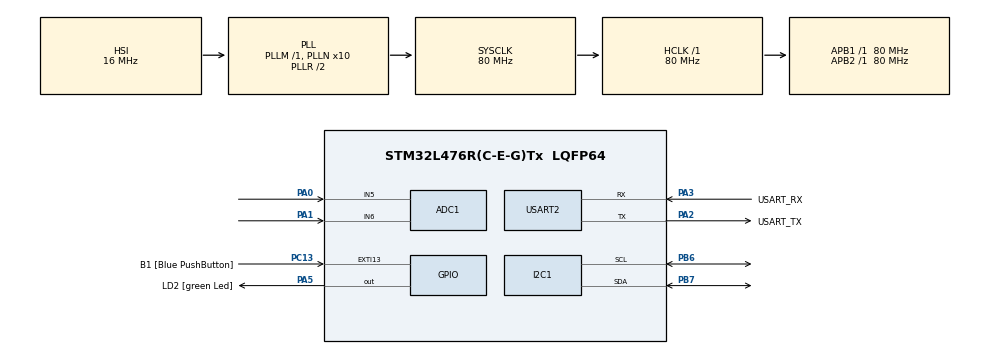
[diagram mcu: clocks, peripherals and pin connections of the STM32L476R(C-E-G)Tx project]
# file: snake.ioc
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ADC1.Channel-0\#ChannelRegularConversion=ADC_CHANNEL_5
ADC1.ContinuousConvMode=ENABLE
ADC1.DMAContinuousRequests=ENABLE
ADC1.NbrOfConversionFlag=1
ADC1.OffsetNumber-0\#ChannelRegularConversion=ADC_OFFSET_NONE
ADC1.Rank-0\#ChannelRegularConversion=1
ADC1.SamplingTime-0\#ChannelRegularConversion=ADC_SAMPLETIME_2CYCLES_5
ADC1.master=1
Dma.ADC1.1.Direction=DMA_PERIPH_TO_MEMORY
Dma.ADC1.1.Instance=DMA1_Channel1
Dma.ADC1.1.MemDataAlignment=DMA_MDATAALIGN_HALFWORD
Dma.ADC1.1.MemInc=DMA_MINC_ENABLE
Dma.ADC1.1.Mode=DMA_CIRCULAR
Dma.ADC1.1.PeriphDataAlignment=DMA_PDATAALIGN_HALFWORD
Dma.ADC1.1.PeriphInc=DMA_PINC_DISABLE
Dma.ADC1.1.Priority=DMA_PRIORITY_LOW
Dma.I2C1_TX.0.Direction=DMA_MEMORY_TO_PERIPH
Dma.I2C1_TX.0.Instance=DMA1_Channel6
Dma.I2C1_TX.0.MemDataAlignment=DMA_MDATAALIGN_BYTE
Dma.I2C1_TX.0.MemInc=DMA_MINC_ENABLE
Dma.I2C1_TX.0.Mode=DMA_NORMAL
Dma.I2C1_TX.0.PeriphDataAlignment=DMA_PDATAALIGN_BYTE
Dma.I2C1_TX.0.PeriphInc=DMA_PINC_DISABLE
Dma.I2C1_TX.0.Priority=DMA_PRIORITY_MEDIUM
Dma.Request0=I2C1_TX
Dma.Request1=ADC1
I2C1.Timing=0x10909CEC
Mcu.Family=STM32L4
Mcu.Name=STM32L476R(C-E-G)Tx
Mcu.Package=LQFP64
NVIC.DMA1_Channel1_IRQn=true\:0\:0\:false\:false\:true\:false\:true\:true
NVIC.DMA1_Channel6_IRQn=true\:0\:0\:false\:false\:true\:false\:true\:true
NVIC.EXTI15_10_IRQn=true\:0\:0\:false\:false\:true\:true\:true\:true
NVIC.I2C1_EV_IRQn=true\:0\:0\:false\:false\:true\:true\:true\:true
NVIC.PriorityGroup=NVIC_PRIORITYGROUP_4
PA0.Signal=ADCx_IN5
PA1.Signal=ADCx_IN6
PA13\ (JTMS-SWDIO).GPIO_Label=TMS
PA13\ (JTMS-SWDIO).Mode=Serial_Wire
PA13\ (JTMS-SWDIO).Signal=SYS_JTMS-SWDIO
PA14\ (JTCK-SWCLK).GPIO_Label=TCK
PA14\ (JTCK-SWCLK).Mode=Serial_Wire
PA14\ (JTCK-SWCLK).Signal=SYS_JTCK-SWCLK
PA2.GPIO_Label=USART_TX
PA2.GPIO_Mode=GPIO_MODE_AF_PP
PA2.GPIO_PuPd=GPIO_NOPULL
PA2.GPIO_Speed=GPIO_SPEED_FREQ_VERY_HIGH
PA2.Mode=Asynchronous
PA2.Signal=USART2_TX
PA3.GPIO_Label=USART_RX
PA3.GPIO_Mode=GPIO_MODE_AF_PP
PA3.GPIO_PuPd=GPIO_NOPULL
PA3.GPIO_Speed=GPIO_SPEED_FREQ_VERY_HIGH
PA3.Mode=Asynchronous
PA3.Signal=USART2_RX
PA5.GPIO_Label=LD2 [green Led]
PA5.GPIO_ModeDefaultOutputPP=GPIO_MODE_OUTPUT_PP
PA5.GPIO_PuPd=GPIO_NOPULL
PA5.GPIO_Speed=GPIO_SPEED_FREQ_LOW
PA5.Signal=GPIO_Output
PB3\ (JTDO-TRACESWO).GPIO_Label=SWO
PB3\ (JTDO-TRACESWO).Signal=SYS_JTDO-SWO
PB6.Mode=I2C
PB6.Signal=I2C1_SCL
PB7.Mode=I2C
PB7.Signal=I2C1_SDA
PC13.GPIO_Label=B1 [Blue PushButton]
PC13.GPIO_ModeDefaultEXTI=GPIO_MODE_IT_FALLING
PC13.GPIO_PuPd=GPIO_NOPULL
PC13.Signal=GPXTI13
PC14-OSC32_IN\ (PC14).Mode=LSE-External-Oscillator
PC14-OSC32_IN\ (PC14).Signal=RCC_OSC32_IN
PC15-OSC32_OUT\ (PC15).Mode=LSE-External-Oscillator
PC15-OSC32_OUT\ (PC15).Signal=RCC_OSC32_OUT
PH0-OSC_IN\ (PH0).Signal=RCC_OSC_IN
PH1-OSC_OUT\ (PH1).Signal=RCC_OSC_OUT
ProjectManager.HeapSize=0x200
ProjectManager.StackSize=0x400
ProjectManager.TargetToolchain=STM32CubeIDE
RCC.ADCFreq_Value=64000000
RCC.AHBFreq_Value=80000000
RCC.APB1Freq_Value=80000000
RCC.APB1TimFreq_Value=80000000
RCC.APB2Freq_Value=80000000
RCC.APB2TimFreq_Value=80000000
RCC.CortexFreq_Value=80000000
RCC.HCLKFreq_Value=80000000
RCC.HSE_VALUE=8000000
RCC.HSI_VALUE=16000000
RCC.MSI_VALUE=4000000
RCC.PLLN=10
RCC.PLLSourceVirtual=RCC_PLLSOURCE_HSI
RCC.PREFETCH_ENABLE=1
RCC.SYSCLKFreq_VALUE=80000000
RCC.SYSCLKSource=RCC_SYSCLKSOURCE_PLLCLK
RCC.USBFreq_Value=64000000
RCC.VCOOutputFreq_Value=160000000
SH.ADCx_IN5.0=ADC1_IN5,IN5-Single-Ended
SH.ADCx_IN6.0=ADC1_IN6,IN6-Single-Ended
USART2.VirtualMode-Asynchronous=VM_ASYNC
VP_RNG_VS_RNG.Mode=RNG_Activate
board=NUCLEO-L476RG

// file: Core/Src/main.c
/* USER CODE BEGIN Header */
/**
  ******************************************************************************
  * @file           : main.c
  * @brief          : Main program body
  ******************************************************************************
  * @attention
  *
  * Copyright (c) 2022 STMicroelectronics.
  * All rights reserved.
  *
  * This software is licensed under terms that can be found in the LICENSE file
  * in the root directory of this software component.
  * If no LICENSE file comes with this software, it is provided AS-IS.
  *
  ******************************************************************************
  */
/* USER CODE END Header */
#include "main.h"
#include "adc.h"
#include "dma.h"
#include "i2c.h"
#include "rng.h"
#include "usart.h"
#include "gpio.h"

/* USER CODE BEGIN Includes */
#include "GFX.h"
#include <stdio.h>
#include <string.h>
/* USER CODE END Includes */

/* USER CODE BEGIN PTD */
typedef struct wall {
	int16_t zero, x, y, h;
}wall;

/* USER CODE END PTD */

/* USER CODE BEGIN PD */
#define BIRD_SIZE 10
#define PLATFORM_SIZE_X 128
#define PLATFORM_SIZE_Y 64
#define STARTING_POINT_X 64
#define STARTING_POINT_Y 32

#define WALL_SIZE 10
#define GAP_SIZE 25
/* USER CODE END PD */

/* USER CODE BEGIN PV */
	uint8_t dir1=0;
	uint8_t dir2=0;
	uint16_t adcdata[2];
	uint8_t act_size=1;
	int16_t bird_x=STARTING_POINT_X;
	int16_t bird_y=STARTING_POINT_Y;
	int16_t size=30;
	int16_t wal_x=0;
	int16_t wal_y=0;
	int16_t wal_h=15;

	wall object;
	wall object1;
	wall object2;

/* USER CODE END PV */

void SystemClock_Config(void);
void PeriphCommonClock_Config(void);

int main(void)
{
  /* USER CODE BEGIN 1 */
	object.x=45;
	object.y=0;
	object.h=20;
	object1.x=0;
	object1.y=0;
	object1.h=5;
	object2.x=90;
	object2.y=0;
	object2.h=32;
  /* USER CODE END 1 */

  /* MCU Configuration--------------------------------------------------------*/

  /* Reset of all peripherals, Initializes the Flash interface and the Systick. */
  HAL_Init();

  /* Configure the system clock */
  SystemClock_Config();

/* Configure the peripherals common clocks */
  PeriphCommonClock_Config();

  /* Initialize all configured peripherals */
  MX_GPIO_Init();
  MX_DMA_Init();
  MX_USART2_UART_Init();
  MX_I2C1_Init();
  MX_ADC1_Init();
  MX_RNG_Init();
  /* USER CODE BEGIN 2 */
  SSD1306_init();
  HAL_RNG_Init(&hrng);
  //HAL_ADC_Start_DMA(&hadc1, (uint32_t*) adcdata, 2);

  //GFX_draw_string(3, 25, (unsigned char *)"***** ***", WHITE, BLACK, 2, 2);
  //SSD1306_draw_pixel(xp, yp, WHITE);

  //SSD1306_display_repaint();
  SSD1306_display_clear();
  Draw_Block(bird_x, bird_y);
  SSD1306_display_repaint();
  //SSD1306_draw_fast_vline(10, 10, 20,  WHITE);
  //SSD1306_draw_fast_hline(10, 10, 20,  WHITE);

  /* USER CODE END 2 */

  /* Infinite loop */
  while (1)
  {

    /* USER CODE BEGIN 3 */
	  Jump();
	  //Move_Wall();
	  Move_Wall2();
	  Move_Wall3();
	  Move_Wall4();

      Bird_Colision(object.x,object.y,object.h,WALL_SIZE);
      Bird_Colision(object1.x,object1.y,object1.h,WALL_SIZE);
      Bird_Colision(object2.x,object2.y,object2.h,WALL_SIZE);
      if(bird_y<1){
    	  Game_Over();
      }

	   HAL_Delay(100);
  }
  /* USER CODE END 3 */
}

void SystemClock_Config(void)
{
  RCC_OscInitTypeDef RCC_OscInitStruct = {0};
  RCC_ClkInitTypeDef RCC_ClkInitStruct = {0};

  /** Configure the main internal regulator output voltage
  */
  if (HAL_PWREx_ControlVoltageScaling(PWR_REGULATOR_VOLTAGE_SCALE1) != HAL_OK)
  {
    Error_Handler();
  }

  /** Initializes the RCC Oscillators according to the specified parameters
  * in the RCC_OscInitTypeDef structure.
  */
  RCC_OscInitStruct.OscillatorType = RCC_OSCILLATORTYPE_HSI;
  RCC_OscInitStruct.HSIState = RCC_HSI_ON;
  RCC_OscInitStruct.HSICalibrationValue = RCC_HSICALIBRATION_DEFAULT;
  RCC_OscInitStruct.PLL.PLLState = RCC_PLL_ON;
  RCC_OscInitStruct.PLL.PLLSource = RCC_PLLSOURCE_HSI;
  RCC_OscInitStruct.PLL.PLLM = 1;
  RCC_OscInitStruct.PLL.PLLN = 10;
  RCC_OscInitStruct.PLL.PLLP = RCC_PLLP_DIV7;
  RCC_OscInitStruct.PLL.PLLQ = RCC_PLLQ_DIV2;
  RCC_OscInitStruct.PLL.PLLR = RCC_PLLR_DIV2;
  if (HAL_RCC_OscConfig(&RCC_OscInitStruct) != HAL_OK)
  {
    Error_Handler();
  }

  /** Initializes the CPU, AHB and APB buses clocks
  */
  RCC_ClkInitStruct.ClockType = RCC_CLOCKTYPE_HCLK|RCC_CLOCKTYPE_SYSCLK
                              |RCC_CLOCKTYPE_PCLK1|RCC_CLOCKTYPE_PCLK2;
  RCC_ClkInitStruct.SYSCLKSource = RCC_SYSCLKSOURCE_PLLCLK;
  RCC_ClkInitStruct.AHBCLKDivider = RCC_SYSCLK_DIV1;
  RCC_ClkInitStruct.APB1CLKDivider = RCC_HCLK_DIV1;
  RCC_ClkInitStruct.APB2CLKDivider = RCC_HCLK_DIV1;

  if (HAL_RCC_ClockConfig(&RCC_ClkInitStruct, FLASH_LATENCY_4) != HAL_OK)
  {
    Error_Handler();
  }
}

void PeriphCommonClock_Config(void)
{
  RCC_PeriphCLKInitTypeDef PeriphClkInit = {0};

  /** Initializes the peripherals clock
  */
  PeriphClkInit.PeriphClockSelection = RCC_PERIPHCLK_RNG|RCC_PERIPHCLK_ADC;
  PeriphClkInit.AdcClockSelection = RCC_ADCCLKSOURCE_PLLSAI1;
  PeriphClkInit.RngClockSelection = RCC_RNGCLKSOURCE_PLLSAI1;
  PeriphClkInit.PLLSAI1.PLLSAI1Source = RCC_PLLSOURCE_HSI;
  PeriphClkInit.PLLSAI1.PLLSAI1M = 1;
  PeriphClkInit.PLLSAI1.PLLSAI1N = 8;
  PeriphClkInit.PLLSAI1.PLLSAI1P = RCC_PLLP_DIV7;
  PeriphClkInit.PLLSAI1.PLLSAI1Q = RCC_PLLQ_DIV2;
  PeriphClkInit.PLLSAI1.PLLSAI1R = RCC_PLLR_DIV2;
  PeriphClkInit.PLLSAI1.PLLSAI1ClockOut = RCC_PLLSAI1_48M2CLK|RCC_PLLSAI1_ADC1CLK;
  if (HAL_RCCEx_PeriphCLKConfig(&PeriphClkInit) != HAL_OK)
  {
    Error_Handler();
  }
}

/* USER CODE BEGIN 4 */
void Draw_Cursor(int16_t x, int16_t y, uint8_t size)
{
SSD1306_draw_fast_vline(x, y-size, size*2,  WHITE);
SSD1306_draw_fast_hline(x-size, y, size*2,  WHITE);
}

void Draw_Block(int16_t x, int16_t y,int16_t h, int16_t w)
{
for(int16_t i=x;i<x+w;i++){
	SSD1306_draw_fast_vline(i, y, h,  WHITE);
	}
}

void Move_Wall()
{
wal_x++;
if(wal_x>128){
	wal_x=0;
	wal_h=wal_h+5;
}
Draw_Block(wal_x, wal_y, wal_h, WALL_SIZE);
SSD1306_display_repaint();
}

void Move_Wall2()
{	uint8_t temp=0;
	if(object.x>128){
		object.x=0;
		temp=HAL_RNG_GetRandomNumber(&hrng);
		while(temp>40)
		{
			temp=temp/2;
		}
		object.h=temp;
	}
	object.x=object.x+1;
	Draw_Block(object.x, object.y, object.h, WALL_SIZE);
	Draw_Block(object.x, object.h+GAP_SIZE, 64-GAP_SIZE-object.h, WALL_SIZE);
	SSD1306_display_repaint();
}
void Move_Wall3()
{	uint8_t temp=0;
	if(object1.x>128){
	object1.x=0;
	temp=HAL_RNG_GetRandomNumber(&hrng);
			while(temp>40)
			{
				temp=temp/2;
			}
			object1.h=temp;
}
	object1.x=object1.x+1;
	Draw_Block(object1.x, object1.y, object1.h, WALL_SIZE);
	Draw_Block(object1.x, object1.h+GAP_SIZE, 64-GAP_SIZE-object1.h, WALL_SIZE);
	SSD1306_display_repaint();
}
void Move_Wall4()
{	uint8_t temp=0;
	if(object2.x>128){
	object2.x=0;
	temp=HAL_RNG_GetRandomNumber(&hrng);
			while(temp>40)
			{
				temp=temp/2;
			}
			object2.h=temp;
}
	object2.x=object2.x+1;
	Draw_Block(object2.x, object2.y, object2.h, WALL_SIZE);
	Draw_Block(object2.x, object2.h+GAP_SIZE, 64-GAP_SIZE-object2.h, WALL_SIZE);
	SSD1306_display_repaint();
}

void Drifting_X(int16_t *xp, int16_t *yp, uint8_t size, uint8_t *dir1, uint8_t *dir2)
{
	 SSD1306_display_clear();
		  Draw_Cursor(&xp, &yp, 8);
		  SSD1306_display_repaint();
		  if(dir1==0){
			  xp--;
			  if(xp>128){dir1=1;}

		  }
		  else {
			  xp--;
			  if(xp<1){dir1=0;}
		  }
		  if(dir2==0){
				  yp++;
				  if(yp>64){dir2=1;}

			  }
			  else {
				  yp--;
				  if(yp==0){dir2=0;}
			  }

}
void Bird_Colision(int16_t x, int16_t y,int16_t h, int16_t w)
{
	//if((x+w>=bird_x)&((y<=bird_y+BIRD_SIZE)|(y+h>=bird_y))){
	if((x+w>=bird_x)&&(x<=bird_x+BIRD_SIZE)&&((y+h>=bird_y)||(h+GAP_SIZE<=bird_y+BIRD_SIZE))){
		Game_Over();
	}
}
void Game_Over()
{

  		SSD1306_display_clear();
  		GFX_draw_string(3, 25, (unsigned char *)"GAME OVER", WHITE, BLACK, 2, 2);
  		SSD1306_display_repaint();
  		HAL_Delay(1000);

}

void Move_and_ADD()
{
	SSD1306_display_clear();
	for(int i=0;i<act_size;i++){
		Draw_Block(bird_x-i*BIRD_SIZE, bird_y, WALL_SIZE, 10);
		SSD1306_display_repaint();
	}
		   bird_x++;
}
void Jump()
{
	SSD1306_display_clear();

	Draw_Block(bird_x, bird_y,BIRD_SIZE,BIRD_SIZE);
	SSD1306_display_repaint();
	bird_y--;
}

void HAL_GPIO_EXTI_Callback(uint16_t GPIO_Pin)
{
	if(GPIO_Pin==GPIO_PIN_13){

		bird_y=bird_y+5;
		//HAL_GPIO_TogglePin(GPIOA, GPIO_PIN_5);

	}
}

/* USER CODE END 4 */

void Error_Handler(void)
{
  __disable_irq();
  while (1)
  {
  }
}
